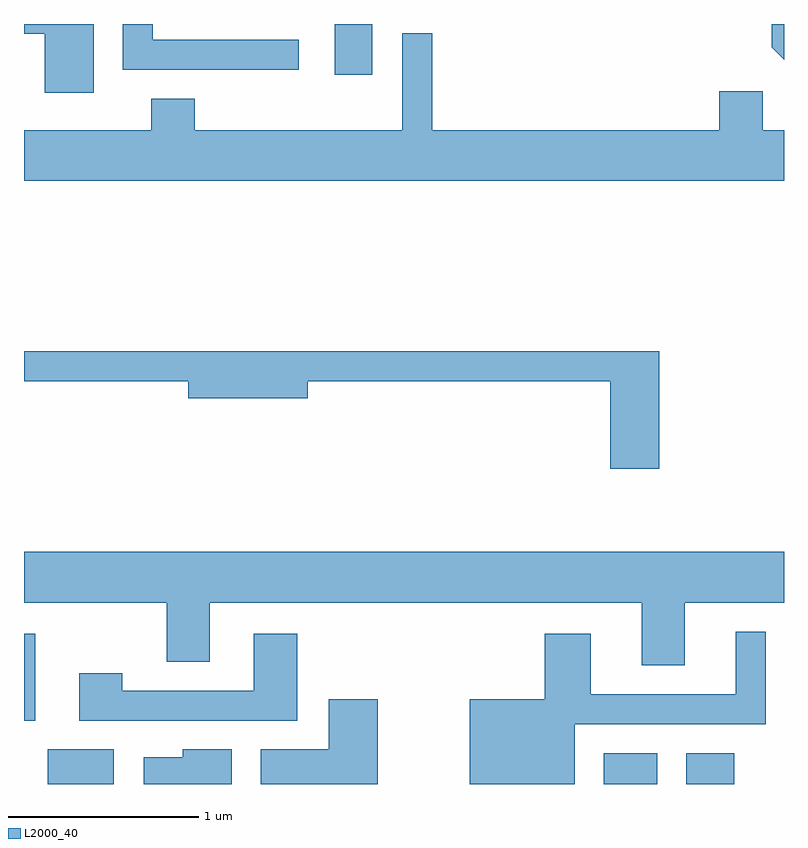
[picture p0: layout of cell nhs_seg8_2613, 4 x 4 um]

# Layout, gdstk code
import gdstk
lib = gdstk.Library(unit=1e-6, precision=1e-09)
def R(c, l, rs):  # rectangles x0, y0, x1, y1
    for r in rs: c.add(gdstk.rectangle(r[:2], r[2:], *l))
def P(c, l, *ps):  # polygons
    for p in ps: c.add(gdstk.Polygon(p, *l))
L2000_40 = (2000, 40)

nhs_seg8_2613 = lib.new_cell('nhs_seg8_2613')
R(nhs_seg8_2613, L2000_40, [(263.736,1844.342,264.084,1844.524), (266.661,1844.342,266.944,1844.504), (267.096,1844.342,267.349,1844.504), (263.611,1844.676,263.669,1845.134), (265.246,1848.076,265.444,1848.342)])
P(nhs_seg8_2613, L2000_40, [(267.611,1848.342),(267.546,1848.342),(267.546,1848.219),(267.611,1848.154)],
  [(265.058,1848.259),(264.289,1848.259),(264.289,1848.342),(264.131,1848.342),(264.131,1848.101),(265.058,1848.101)],
  [(263.979,1848.342),(263.611,1848.342),(263.611,1848.291),(263.721,1848.291),(263.721,1847.981),(263.979,1847.981)],
  [(267.611,1847.784),(267.499,1847.784),(267.499,1847.989),(267.271,1847.989),(267.271,1847.784),(265.759,1847.784),(265.759,1848.293),(265.601,1848.293),(265.601,1847.784),(264.509,1847.784),(264.509,1847.949),(264.281,1847.949),(264.281,1847.784),(263.611,1847.784),(263.611,1847.516),(267.611,1847.516)],
  [(266.954,1846.619),(263.611,1846.619),(263.611,1846.461),(264.476,1846.461),(264.476,1846.371),(265.104,1846.371),(265.104,1846.461),(266.696,1846.461),(266.696,1846.001),(266.954,1846.001)],
  [(267.089,1845.296),(267.611,1845.296),(267.611,1845.564),(263.611,1845.564),(263.611,1845.296),(264.361,1845.296),(264.361,1844.986),(264.589,1844.986),(264.589,1845.296),(266.861,1845.296),(266.861,1844.966),(267.089,1844.966)],
  [(266.509,1844.656),(267.514,1844.656),(267.514,1845.143),(267.356,1845.143),(267.356,1844.814),(266.594,1844.814),(266.594,1845.134),(266.351,1845.134),(266.351,1844.789),(265.956,1844.789),(265.956,1844.342),(266.509,1844.342)],
  [(265.049,1845.134),(264.821,1845.134),(264.821,1844.834),(264.129,1844.834),(264.129,1844.924),(263.901,1844.924),(263.901,1844.676),(265.049,1844.676)],
  [(265.474,1844.789),(265.216,1844.789),(265.216,1844.524),(264.856,1844.524),(264.856,1844.342),(265.474,1844.342)],
  [(264.704,1844.524),(264.446,1844.524),(264.446,1844.484),(264.241,1844.484),(264.241,1844.342),(264.704,1844.342)])

lib.write_gds('nhs_seg8_2613.gds')
